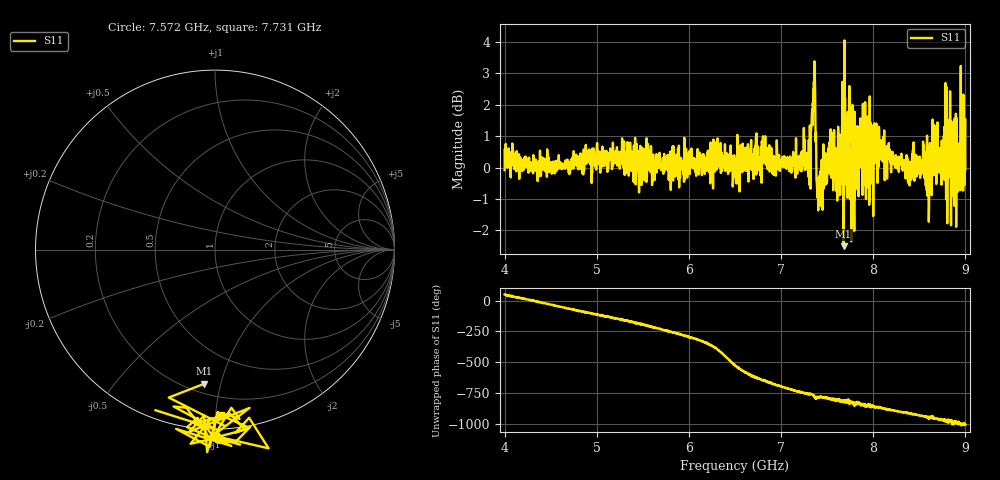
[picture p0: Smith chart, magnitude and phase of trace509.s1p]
! Created with skrf 1.8.0 (http://scikit-rf.org).
# Hz S RI R 50.0
!freq ReS11 ImS11
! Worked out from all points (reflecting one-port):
!   1601 points, 4 GHz to 9 GHz, reference 50 ohm
!   lowest |S11| = -2.5 dB at 7.678 GHz (marker M1), VSWR 6.99, Z = 13 - j44.5 ohm
!   phase of S11 starts at 50 deg and turns -1055 deg over the sweep
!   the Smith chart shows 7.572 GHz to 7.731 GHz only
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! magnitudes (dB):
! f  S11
! 4 GHz  -0.1
! 4.625 GHz  0.0
! 5.25 GHz  0.0
! 5.875 GHz  0.0
! 6.291 GHz  0.8
! 6.5 GHz  0.0
! 6.806 GHz  0.3
! 7.125 GHz  0.2
! 7.294 GHz  -0.3
! 7.347 GHz  2.0
! 7.369 GHz  2.5
! 7.409 GHz  -0.3
! 7.538 GHz  1.2
! 7.616 GHz  -0.6
! 7.678 GHz  -2.5
! 7.75 GHz  0.3
! 7.769 GHz  -1.1
! 7.862 GHz  0.0
! 7.962 GHz  2.3
! 7.981 GHz  -0.1
! 8.088 GHz  0.2
! 8.375 GHz  -0.3
! 8.581 GHz  -0.7
! 8.809 GHz  1.5
! 8.869 GHz  -0.6
! 8.919 GHz  -0.8
! 8.959 GHz  1.8
! 9 GHz  -0.1
